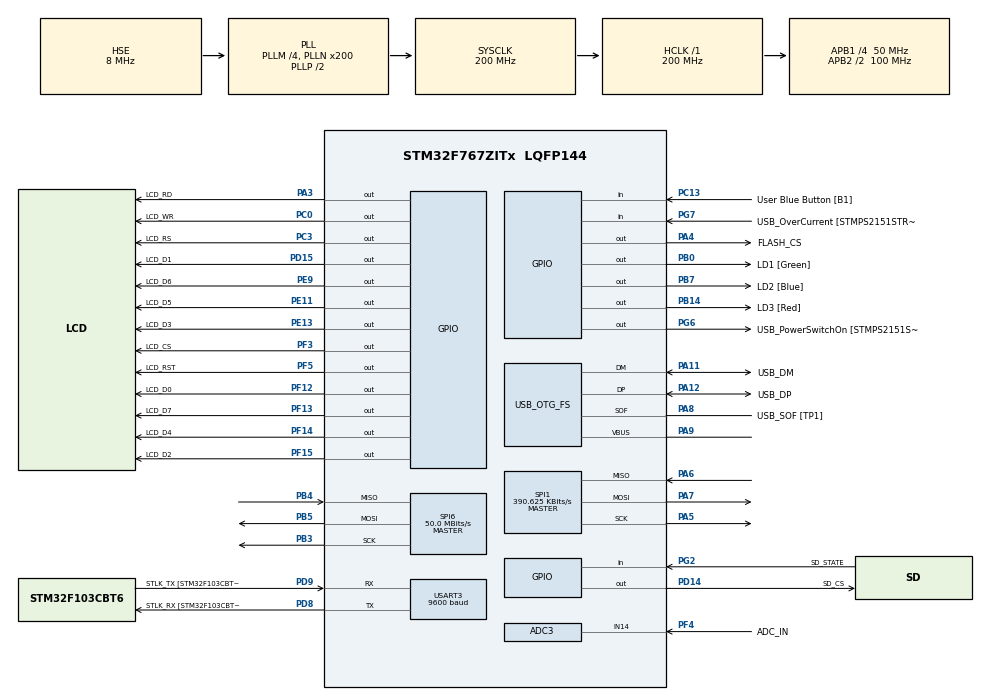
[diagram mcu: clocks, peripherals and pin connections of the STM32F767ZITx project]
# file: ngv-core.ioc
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ADC1.Channel-4\#ChannelRegularConversion=ADC_CHANNEL_TEMPSENSOR
ADC1.ClockPrescaler=ADC_CLOCK_SYNC_PCLK_DIV4
ADC1.ContinuousConvMode=ENABLE
ADC1.DMAContinuousRequests=ENABLE
ADC1.DataAlign=ADC_DATAALIGN_RIGHT
ADC1.DiscontinuousConvMode=DISABLE
ADC1.EOCSelection=ADC_EOC_SEQ_CONV
ADC1.EnableAnalogWatchDog=false
ADC1.ExternalTrigConv=ADC_SOFTWARE_START
ADC1.ExternalTrigConvEdge=ADC_EXTERNALTRIGCONVEDGE_NONE
ADC1.InjNumberOfConversion=0
ADC1.NbrOfConversion=1
ADC1.NbrOfConversionFlag=1
ADC1.Rank-4\#ChannelRegularConversion=1
ADC1.Resolution=ADC_RESOLUTION_12B
ADC1.SamplingTime-4\#ChannelRegularConversion=ADC_SAMPLETIME_3CYCLES
ADC1.ScanConvMode=DISABLE
ADC1.master=1
ADC3.Channel-0\#ChannelRegularConversion=ADC_CHANNEL_14
ADC3.ClockPrescaler=ADC_CLOCK_SYNC_PCLK_DIV4
ADC3.ContinuousConvMode=DISABLE
ADC3.DMAContinuousRequests=DISABLE
ADC3.DataAlign=ADC_DATAALIGN_RIGHT
ADC3.DiscontinuousConvMode=DISABLE
ADC3.EOCSelection=ADC_EOC_SINGLE_CONV
ADC3.EnableAnalogWatchDog=false
ADC3.ExternalTrigConv=ADC_SOFTWARE_START
ADC3.ExternalTrigConvEdge=ADC_EXTERNALTRIGCONVEDGE_NONE
ADC3.InjNumberOfConversion=0
ADC3.NbrOfConversion=1
ADC3.NbrOfConversionFlag=1
ADC3.Rank-0\#ChannelRegularConversion=1
ADC3.Resolution=ADC_RESOLUTION_12B
ADC3.SamplingTime-0\#ChannelRegularConversion=ADC_SAMPLETIME_3CYCLES
ADC3.ScanConvMode=DISABLE
CORTEX_M7.ART_ACCLERATOR_ENABLE=1
CORTEX_M7.CPU_DCache=Enabled
CORTEX_M7.CPU_ICache=Enabled
CORTEX_M7.FlashInterface=TCM_Enabled
CORTEX_M7.PREFETCH_ENABLE=1
Dma.ADC1.0.Direction=DMA_PERIPH_TO_MEMORY
Dma.ADC1.0.FIFOMode=DMA_FIFOMODE_DISABLE
Dma.ADC1.0.Instance=DMA2_Stream0
Dma.ADC1.0.MemDataAlignment=DMA_MDATAALIGN_HALFWORD
Dma.ADC1.0.MemInc=DMA_MINC_ENABLE
Dma.ADC1.0.Mode=DMA_CIRCULAR
Dma.ADC1.0.PeriphDataAlignment=DMA_PDATAALIGN_HALFWORD
Dma.ADC1.0.PeriphInc=DMA_PINC_DISABLE
Dma.ADC1.0.Priority=DMA_PRIORITY_MEDIUM
Dma.Request0=ADC1
Mcu.Family=STM32F7
Mcu.Name=STM32F767ZITx
Mcu.Package=LQFP144
NVIC.DMA2_Stream0_IRQn=true\:0\:0\:false\:false\:true\:false
NVIC.OTG_FS_IRQn=true\:0\:0\:false\:false\:true\:true
NVIC.PriorityGroup=NVIC_PRIORITYGROUP_4
PA1.GPIO_Label=RMII_REF_CLK [LAN8742A-CZ-TR_REFCLK0]
PA1.Signal=ETH_REF_CLK
PA10.GPIO_Label=USB_ID
PA10.Signal=USB_OTG_FS_ID
PA11.GPIO_Label=USB_DM
PA11.Mode=Device_Only
PA11.Signal=USB_OTG_FS_DM
PA12.GPIO_Label=USB_DP
PA12.Mode=Device_Only
PA12.Signal=USB_OTG_FS_DP
PA13.GPIO_Label=TMS
PA13.Mode=Serial_Wire
PA13.Signal=SYS_JTMS-SWDIO
PA14.GPIO_Label=TCK
PA14.Mode=Serial_Wire
PA14.Signal=SYS_JTCK-SWCLK
PA2.GPIO_Label=RMII_MDIO [LAN8742A-CZ-TR_MDIO]
PA2.Signal=ETH_MDIO
PA3.GPIO_Label=LCD_RD
PA3.GPIO_Speed=GPIO_SPEED_FREQ_VERY_HIGH
PA3.PinState=GPIO_PIN_SET
PA3.Signal=GPIO_Output
PA4.GPIO_Label=FLASH_CS
PA4.GPIO_Speed=GPIO_SPEED_FREQ_VERY_HIGH
PA4.PinState=GPIO_PIN_SET
PA4.Signal=GPIO_Output
PA5.Mode=Full_Duplex_Master
PA5.Signal=SPI1_SCK
PA6.Mode=Full_Duplex_Master
PA6.Signal=SPI1_MISO
PA7.Mode=Full_Duplex_Master
PA7.Signal=SPI1_MOSI
PA8.GPIO_Label=USB_SOF [TP1]
PA8.Mode=Activate_SOF_FS
PA8.Signal=USB_OTG_FS_SOF
PA9.Mode=Activate_VBUS
PA9.Signal=USB_OTG_FS_VBUS
PB0.GPIO_Label=LD1 [Green]
PB0.Signal=GPIO_Output
PB13.GPIO_Label=RMII_TXD1 [LAN8742A-CZ-TR_TXD1]
PB13.Signal=ETH_TXD1
PB14.GPIO_Label=LD3 [Red]
PB14.Signal=GPIO_Output
PB3.Mode=Full_Duplex_Master
PB3.Signal=SPI6_SCK
PB4.Mode=Full_Duplex_Master
PB4.Signal=SPI6_MISO
PB5.Mode=Full_Duplex_Master
PB5.Signal=SPI6_MOSI
PB7.GPIO_Label=LD2 [Blue]
PB7.Signal=GPIO_Output
PC0.GPIO_Label=LCD_WR
PC0.GPIO_Speed=GPIO_SPEED_FREQ_VERY_HIGH
PC0.PinState=GPIO_PIN_SET
PC0.Signal=GPIO_Output
PC1.GPIO_Label=RMII_MDC [LAN8742A-CZ-TR_MDC]
PC1.Signal=ETH_MDC
PC13.GPIO_Label=User Blue Button [B1]
PC13.GPIO_PuPd=GPIO_PULLDOWN
PC13.Signal=GPIO_Input
PC14/OSC32_IN.Mode=LSE-External-Oscillator
PC14/OSC32_IN.Signal=RCC_OSC32_IN
PC15/OSC32_OUT.Mode=LSE-External-Oscillator
PC15/OSC32_OUT.Signal=RCC_OSC32_OUT
PC3.GPIO_Label=LCD_RS
PC3.GPIO_Speed=GPIO_SPEED_FREQ_VERY_HIGH
PC3.PinState=GPIO_PIN_SET
PC3.Signal=GPIO_Output
PC4.GPIO_Label=RMII_RXD0 [LAN8742A-CZ-TR_RXD0]
PC4.Signal=ETH_RXD0
PC5.GPIO_Label=RMII_RXD1 [LAN8742A-CZ-TR_RXD1]
PC5.Signal=ETH_RXD1
PD14.GPIO_Label=SD_CS
PD14.GPIO_Speed=GPIO_SPEED_FREQ_VERY_HIGH
PD14.PinState=GPIO_PIN_SET
PD14.Signal=GPIO_Output
PD15.GPIO_Label=LCD_D1
PD15.GPIO_ModeDefaultOutputPP=GPIO_MODE_OUTPUT_PP
PD15.GPIO_PuPd=GPIO_NOPULL
PD15.GPIO_Speed=GPIO_SPEED_FREQ_VERY_HIGH
PD15.PinState=GPIO_PIN_RESET
PD15.Signal=GPIO_Output
PD8.GPIO_Label=STLK_RX [STM32F103CBT6_PA3]
PD8.Mode=Asynchronous
PD8.Signal=USART3_TX
PD9.GPIO_Label=STLK_TX [STM32F103CBT6_PA2]
PD9.Mode=Asynchronous
PD9.Signal=USART3_RX
PE11.GPIO_Label=LCD_D5
PE11.GPIO_ModeDefaultOutputPP=GPIO_MODE_OUTPUT_PP
PE11.GPIO_PuPd=GPIO_NOPULL
PE11.GPIO_Speed=GPIO_SPEED_FREQ_VERY_HIGH
PE11.PinState=GPIO_PIN_RESET
PE11.Signal=GPIO_Output
PE13.GPIO_Label=LCD_D3
PE13.GPIO_ModeDefaultOutputPP=GPIO_MODE_OUTPUT_PP
PE13.GPIO_PuPd=GPIO_NOPULL
PE13.GPIO_Speed=GPIO_SPEED_FREQ_VERY_HIGH
PE13.PinState=GPIO_PIN_RESET
PE13.Signal=GPIO_Output
PE9.GPIO_Label=LCD_D6
PE9.GPIO_ModeDefaultOutputPP=GPIO_MODE_OUTPUT_PP
PE9.GPIO_PuPd=GPIO_NOPULL
PE9.GPIO_Speed=GPIO_SPEED_FREQ_VERY_HIGH
PE9.PinState=GPIO_PIN_RESET
PE9.Signal=GPIO_Output
PF12.GPIO_Label=LCD_D0
PF12.GPIO_ModeDefaultOutputPP=GPIO_MODE_OUTPUT_PP
PF12.GPIO_PuPd=GPIO_NOPULL
PF12.GPIO_Speed=GPIO_SPEED_FREQ_VERY_HIGH
PF12.PinState=GPIO_PIN_RESET
PF12.Signal=GPIO_Output
PF13.GPIO_Label=LCD_D7
PF13.GPIO_ModeDefaultOutputPP=GPIO_MODE_OUTPUT_PP
PF13.GPIO_PuPd=GPIO_NOPULL
PF13.GPIO_Speed=GPIO_SPEED_FREQ_VERY_HIGH
PF13.PinState=GPIO_PIN_RESET
PF13.Signal=GPIO_Output
PF14.GPIO_Label=LCD_D4
PF14.GPIO_ModeDefaultOutputPP=GPIO_MODE_OUTPUT_PP
PF14.GPIO_PuPd=GPIO_NOPULL
PF14.GPIO_Speed=GPIO_SPEED_FREQ_VERY_HIGH
PF14.PinState=GPIO_PIN_RESET
PF14.Signal=GPIO_Output
PF15.GPIO_Label=LCD_D2
PF15.GPIO_ModeDefaultOutputPP=GPIO_MODE_OUTPUT_PP
PF15.GPIO_PuPd=GPIO_NOPULL
PF15.GPIO_Speed=GPIO_SPEED_FREQ_VERY_HIGH
PF15.PinState=GPIO_PIN_RESET
PF15.Signal=GPIO_Output
PF3.GPIO_Label=LCD_CS
PF3.GPIO_Speed=GPIO_SPEED_FREQ_VERY_HIGH
PF3.PinState=GPIO_PIN_SET
PF3.Signal=GPIO_Output
PF4.GPIO_Label=ADC_IN
PF4.Mode=IN14
PF4.Signal=ADC3_IN14
PF5.GPIO_Label=LCD_RST
PF5.GPIO_Speed=GPIO_SPEED_FREQ_VERY_HIGH
PF5.PinState=GPIO_PIN_SET
PF5.Signal=GPIO_Output
PG11.GPIO_Label=RMII_TX_EN [LAN8742A-CZ-TR_TXEN]
PG11.Signal=ETH_TX_EN
PG13.GPIO_Label=RMII_TXD0 [LAN8742A-CZ-TR_TXD0]
PG13.Signal=ETH_TXD0
PG2.GPIO_Label=SD_STATE
PG2.GPIO_PuPd=GPIO_PULLUP
PG2.Signal=GPIO_Input
PG6.GPIO_Label=USB_PowerSwitchOn [STMPS2151STR_EN]
PG6.Signal=GPIO_Output
PG7.GPIO_Label=USB_OverCurrent [STMPS2151STR_FAULT]
PG7.Signal=GPIO_Input
PH0/OSC_IN.GPIO_Label=MCO [STM32F103CBT6_PA8]
PH0/OSC_IN.Mode=HSE-External-Oscillator
PH0/OSC_IN.Signal=RCC_OSC_IN
PH1/OSC_OUT.Mode=HSE-External-Oscillator
PH1/OSC_OUT.Signal=RCC_OSC_OUT
ProjectManager.HeapSize=0x800
ProjectManager.StackSize=0x800
ProjectManager.TargetToolchain=SW4STM32
RCC.48MHZClocksFreq_Value=24000000
RCC.AHBFreq_Value=200000000
RCC.APB1CLKDivider=RCC_HCLK_DIV4
RCC.APB1Freq_Value=50000000
RCC.APB1TimFreq_Value=100000000
RCC.APB2CLKDivider=RCC_HCLK_DIV2
RCC.APB2Freq_Value=100000000
RCC.APB2TimFreq_Value=200000000
RCC.CortexFreq_Value=200000000
RCC.EnbaleCSS=true
RCC.HCLKFreq_Value=200000000
RCC.HSE_VALUE=8000000
RCC.HSI_VALUE=16000000
RCC.PLL48CLockSelection=RCC_CLK48SOURCE_PLLSAIP
RCC.PLLM=4
RCC.PLLMUL=RCC_PLL_MUL9
RCC.PLLN=200
RCC.PLLSAIN=96
RCC.PLLSAIP=RCC_PLLSAIP_DIV4
RCC.PRESCALERUSB=RCC_USBCLKSOURCE_PLL_DIV1_5
RCC.SDMMCClockSelection=RCC_SDMMC1CLKSOURCE_CLK48
RCC.SYSCLKFreq_VALUE=200000000
RCC.SYSCLKSource=RCC_SYSCLKSOURCE_PLLCLK
RCC.SYSCLKSourceVirtual=RCC_SYSCLKSOURCE_PLLCLK
RCC.USBFreq_Value=48000000
RCC.VCOOutputFreq_Value=400000000
RCC.VDD_VALUE=3.3
SPI1.BaudRatePrescaler=SPI_BAUDRATEPRESCALER_256
SPI1.CLKPhase=SPI_PHASE_2EDGE
SPI1.CLKPolarity=SPI_POLARITY_HIGH
SPI1.CalculateBaudRate=390.625 KBits/s
SPI1.DataSize=SPI_DATASIZE_8BIT
SPI1.Direction=SPI_DIRECTION_2LINES
SPI1.Mode=SPI_MODE_MASTER
SPI1.VirtualType=VM_MASTER
SPI6.CLKPhase=SPI_PHASE_2EDGE
SPI6.CLKPolarity=SPI_POLARITY_HIGH
SPI6.CalculateBaudRate=50.0 MBits/s
SPI6.DataSize=SPI_DATASIZE_8BIT
SPI6.Direction=SPI_DIRECTION_2LINES
SPI6.Mode=SPI_MODE_MASTER
SPI6.VirtualType=VM_MASTER
USART3.BaudRate=9600
USART3.VirtualMode-Asynchronous=VM_ASYNC
USART3.WordLength=WORDLENGTH_8B
USB_DEVICE.CLASS_NAME-MSC_FS=MSC
USB_DEVICE.CLASS_NAME_FS=MSC
USB_DEVICE.CONFIGURATION_STRING_MSC_FS=NGV Config
USB_DEVICE.INTERFACE_STRING_MSC_FS=NGV Interface
USB_DEVICE.MANUFACTURER_STRING-MSC_FS=NSDN
USB_DEVICE.PID_MSC_FS=975
USB_DEVICE.PRODUCT_STRING_MSC_FS=NyaGame Vita
USB_DEVICE.SERIALNUMBER_STRING_MSC_FS=000000000001
USB_DEVICE.USBD_HandleTypeDef-MSC_FS=hUsbDeviceFS
USB_DEVICE.VID-MSC_FS=9629
USB_DEVICE.VirtualMode-MSC_FS=Msc
USB_DEVICE.VirtualModeFS=Msc_FS
USB_OTG_FS.VirtualMode=Device_Only
USB_OTG_FS.lpm_enable=ENABLE
VP_ADC1_TempSens_Input.Mode=IN-TempSens
VP_FATFS_VS_Generic.Mode=User_defined
VP_USB_DEVICE_VS_USB_DEVICE_MSC_FS.Mode=MSC_FS
board=ngv-core

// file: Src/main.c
/**
  ******************************************************************************
  * @file           : main.c
  * @brief          : Main program body
  ******************************************************************************
  * This notice applies to any and all portions of this file
  * that are not between comment pairs USER CODE BEGIN and
  * USER CODE END. Other portions of this file, whether
  * inserted by the user or by software development tools
  * are owned by their respective copyright owners.
  *
  * Copyright (c) 2018 STMicroelectronics International N.V.
  * All rights reserved.
  *
  * Redistribution and use in source and binary forms, with or without
  * modification, are permitted, provided that the following conditions are met:
  *
  * 1. Redistribution of source code must retain the above copyright notice,
  *    this list of conditions and the following disclaimer.
  * 2. Redistributions in binary form must reproduce the above copyright notice,
  *    this list of conditions and the following disclaimer in the documentation
  *    and/or other materials provided with the distribution.
  * 3. Neither the name of STMicroelectronics nor the names of other
  *    contributors to this software may be used to endorse or promote products
  *    derived from this software without specific written permission.
  * 4. This software, including modifications and/or derivative works of this
  *    software, must execute solely and exclusively on microcontroller or
  *    microprocessor devices manufactured by or for STMicroelectronics.
  * 5. Redistribution and use of this software other than as permitted under
  *    this license is void and will automatically terminate your rights under
  *    this license.
  *
  * THIS SOFTWARE IS PROVIDED BY STMICROELECTRONICS AND CONTRIBUTORS "AS IS"
  * AND ANY EXPRESS, IMPLIED OR STATUTORY WARRANTIES, INCLUDING, BUT NOT
  * LIMITED TO, THE IMPLIED WARRANTIES OF MERCHANTABILITY, FITNESS FOR A
  * PARTICULAR PURPOSE AND NON-INFRINGEMENT OF THIRD PARTY INTELLECTUAL PROPERTY
  * RIGHTS ARE DISCLAIMED TO THE FULLEST EXTENT PERMITTED BY LAW. IN NO EVENT
  * SHALL STMICROELECTRONICS OR CONTRIBUTORS BE LIABLE FOR ANY DIRECT, INDIRECT,
  * INCIDENTAL, SPECIAL, EXEMPLARY, OR CONSEQUENTIAL DAMAGES (INCLUDING, BUT NOT
  * LIMITED TO, PROCUREMENT OF SUBSTITUTE GOODS OR SERVICES; LOSS OF USE, DATA,
  * OR PROFITS; OR BUSINESS INTERRUPTION) HOWEVER CAUSED AND ON ANY THEORY OF
  * LIABILITY, WHETHER IN CONTRACT, STRICT LIABILITY, OR TORT (INCLUDING
  * NEGLIGENCE OR OTHERWISE) ARISING IN ANY WAY OUT OF THE USE OF THIS SOFTWARE,
  * EVEN IF ADVISED OF THE POSSIBILITY OF SUCH DAMAGE.
  *
  ******************************************************************************
  */
#include "main.h"
#include "stm32f7xx_hal.h"
#include "fatfs.h"
#include "usb_device.h"

/* USER CODE BEGIN Includes */
#define NGV_CORE_VERSION "180201"

#include "ngv_bios.h"

#include "usbd_core.h"
#include <setjmp.h>

#include "sd.h"
#include "lcd.h"
#include "logo.h"
#include "flash.h"
#include "nshel.h"
/* USER CODE END Includes */

ADC_HandleTypeDef hadc1;
ADC_HandleTypeDef hadc3;
DMA_HandleTypeDef hdma_adc1;

SPI_HandleTypeDef hspi1;
SPI_HandleTypeDef hspi6;

UART_HandleTypeDef huart3;

/* USER CODE BEGIN PV */
/* Private variables ---------------------------------------------------------*/
SD* sd;
LCD* lcd;
pIO rd = { LCD_RD_GPIO_Port, LCD_RD_Pin },
	wr = { LCD_WR_GPIO_Port, LCD_WR_Pin },
	rs = { LCD_RS_GPIO_Port, LCD_RS_Pin },
	cs = { LCD_CS_GPIO_Port, LCD_CS_Pin },
	rst = { LCD_RST_GPIO_Port, LCD_RST_Pin };
pIO data[8] = {
	{ LCD_D0_GPIO_Port, LCD_D0_Pin }, { LCD_D1_GPIO_Port, LCD_D1_Pin },
	{ LCD_D2_GPIO_Port, LCD_D2_Pin }, { LCD_D3_GPIO_Port, LCD_D3_Pin },
	{ LCD_D4_GPIO_Port, LCD_D4_Pin }, { LCD_D5_GPIO_Port, LCD_D5_Pin },
	{ LCD_D6_GPIO_Port, LCD_D6_Pin }, { LCD_D7_GPIO_Port, LCD_D7_Pin }
};
jmp_buf rstPos;
FATFS fileSystem;
uint8_t FS_OK = 0;
/* USER CODE END PV */

void SystemClock_Config(void);
static void MX_GPIO_Init(void);
static void MX_DMA_Init(void);
static void MX_ADC3_Init(void);
static void MX_SPI1_Init(void);
static void MX_SPI6_Init(void);
static void MX_USART3_UART_Init(void);
static void MX_ADC1_Init(void);

/* USER CODE BEGIN PFP */
/* Private function prototypes -----------------------------------------------*/

/* USER CODE END PFP */

/* USER CODE BEGIN 0 */
unsigned char sdInit() {
	return sd->init(sd->p);
}
unsigned int sdSize() {
	return sd->size(sd->p);
}
void sdRead(unsigned int sector, unsigned char* buf) {
	sd->read(sd->p, sector, buf);
}
void sdWrite(unsigned int sector, unsigned char* buf) {
	sd->write(sd->p, sector, buf);
}
void sdReads(unsigned int sector, unsigned char* buf, unsigned char count) {
	sd->reads(sd->p, sector, buf, count);
}
void sdWrites(unsigned int sector, unsigned char* buf, unsigned char count) {
	sd->writes(sd->p, sector, buf, count);
}
void spi1Init(char isHighSpeed) {
	hspi1.Instance = SPI1;
	hspi1.Init.Mode = SPI_MODE_MASTER;
	hspi1.Init.Direction = SPI_DIRECTION_2LINES;
	hspi1.Init.DataSize = SPI_DATASIZE_8BIT;
	hspi1.Init.CLKPolarity = SPI_POLARITY_LOW;
	hspi1.Init.CLKPhase = SPI_PHASE_1EDGE;
	hspi1.Init.NSS = SPI_NSS_SOFT;
	if (isHighSpeed == 0)
		hspi1.Init.BaudRatePrescaler = SPI_BAUDRATEPRESCALER_256;
	else
		hspi1.Init.BaudRatePrescaler = SPI_BAUDRATEPRESCALER_2;
	hspi1.Init.FirstBit = SPI_FIRSTBIT_MSB;
	hspi1.Init.TIMode = SPI_TIMODE_DISABLE;
	hspi1.Init.CRCCalculation = SPI_CRCCALCULATION_DISABLE;
	hspi1.Init.CRCPolynomial = 7;
	hspi1.Init.CRCLength = SPI_CRC_LENGTH_DATASIZE;
	hspi1.Init.NSSPMode = SPI_NSS_PULSE_DISABLE;
	HAL_SPI_Init(&hspi1);
}

void _lcd_ctl_blk(unsigned char state) {

}
void _lcd_ctl_cs(unsigned char state) {
	HAL_GPIO_WritePin(LCD_CS_GPIO_Port, LCD_CS_Pin, state);
}
void _lcd_ctl_rs(unsigned char state) {
	HAL_GPIO_WritePin(LCD_RS_GPIO_Port, LCD_RS_Pin, state);
}
void _lcd_ctl_rst(unsigned char state) {
	HAL_GPIO_WritePin(LCD_RST_GPIO_Port, LCD_RST_Pin, state);
}
/* USER CODE END 0 */

int main(void)
{
  /* USER CODE BEGIN 1 */
  sd = SDInit(&hspi1, SD_CS_GPIO_Port, SD_CS_Pin);
  lcd = LCDInit(&rd, &wr, &rs, &cs, &rst, data);
  /* USER CODE END 1 */

  /* Enable I-Cache-------------------------------------------------------------*/
  SCB_EnableICache();

  /* Enable D-Cache-------------------------------------------------------------*/
  SCB_EnableDCache();

  /* MCU Configuration----------------------------------------------------------*/

  /* Reset of all peripherals, Initializes the Flash interface and the Systick. */
  HAL_Init();

  /* Configure the system clock */
  SystemClock_Config();

  /* Initialize all configured peripherals */
  MX_GPIO_Init();
  MX_DMA_Init();
  MX_USB_DEVICE_Init();
  MX_FATFS_Init();
  MX_ADC3_Init();
  MX_SPI1_Init();
  MX_SPI6_Init();
  MX_USART3_UART_Init();
  MX_ADC1_Init();
  /* USER CODE BEGIN 2 */
  ngv_setup();
  /* USER CODE END 2 */

  /* Infinite loop */
  /* USER CODE BEGIN WHILE */
  while (1) ngv_loop();
  /* USER CODE END WHILE */

}

void SystemClock_Config(void)
{

  RCC_OscInitTypeDef RCC_OscInitStruct;
  RCC_ClkInitTypeDef RCC_ClkInitStruct;
  RCC_PeriphCLKInitTypeDef PeriphClkInitStruct;

    /**Configure the main internal regulator output voltage
    */
  __HAL_RCC_PWR_CLK_ENABLE();

  __HAL_PWR_VOLTAGESCALING_CONFIG(PWR_REGULATOR_VOLTAGE_SCALE1);

    /**Initializes the CPU, AHB and APB busses clocks
    */
  RCC_OscInitStruct.OscillatorType = RCC_OSCILLATORTYPE_HSE;
  RCC_OscInitStruct.HSEState = RCC_HSE_ON;
  RCC_OscInitStruct.PLL.PLLState = RCC_PLL_ON;
  RCC_OscInitStruct.PLL.PLLSource = RCC_PLLSOURCE_HSE;
  RCC_OscInitStruct.PLL.PLLM = 4;
  RCC_OscInitStruct.PLL.PLLN = 200;
  RCC_OscInitStruct.PLL.PLLP = RCC_PLLP_DIV2;
  RCC_OscInitStruct.PLL.PLLQ = 2;
  if (HAL_RCC_OscConfig(&RCC_OscInitStruct) != HAL_OK)
  {
    _Error_Handler(__FILE__, __LINE__);
  }

    /**Activate the Over-Drive mode
    */
  if (HAL_PWREx_EnableOverDrive() != HAL_OK)
  {
    _Error_Handler(__FILE__, __LINE__);
  }

    /**Initializes the CPU, AHB and APB busses clocks
    */
  RCC_ClkInitStruct.ClockType = RCC_CLOCKTYPE_HCLK|RCC_CLOCKTYPE_SYSCLK
                              |RCC_CLOCKTYPE_PCLK1|RCC_CLOCKTYPE_PCLK2;
  RCC_ClkInitStruct.SYSCLKSource = RCC_SYSCLKSOURCE_PLLCLK;
  RCC_ClkInitStruct.AHBCLKDivider = RCC_SYSCLK_DIV1;
  RCC_ClkInitStruct.APB1CLKDivider = RCC_HCLK_DIV4;
  RCC_ClkInitStruct.APB2CLKDivider = RCC_HCLK_DIV2;

  if (HAL_RCC_ClockConfig(&RCC_ClkInitStruct, FLASH_LATENCY_6) != HAL_OK)
  {
    _Error_Handler(__FILE__, __LINE__);
  }

  PeriphClkInitStruct.PeriphClockSelection = RCC_PERIPHCLK_USART3|RCC_PERIPHCLK_CLK48;
  PeriphClkInitStruct.PLLSAI.PLLSAIN = 96;
  PeriphClkInitStruct.PLLSAI.PLLSAIR = 2;
  PeriphClkInitStruct.PLLSAI.PLLSAIQ = 2;
  PeriphClkInitStruct.PLLSAI.PLLSAIP = RCC_PLLSAIP_DIV4;
  PeriphClkInitStruct.PLLSAIDivQ = 1;
  PeriphClkInitStruct.PLLSAIDivR = RCC_PLLSAIDIVR_2;
  PeriphClkInitStruct.Usart3ClockSelection = RCC_USART3CLKSOURCE_PCLK1;
  PeriphClkInitStruct.Clk48ClockSelection = RCC_CLK48SOURCE_PLLSAIP;
  if (HAL_RCCEx_PeriphCLKConfig(&PeriphClkInitStruct) != HAL_OK)
  {
    _Error_Handler(__FILE__, __LINE__);
  }

    /**Enables the Clock Security System
    */
  HAL_RCC_EnableCSS();

    /**Configure the Systick interrupt time
    */
  HAL_SYSTICK_Config(HAL_RCC_GetHCLKFreq()/1000);

    /**Configure the Systick
    */
  HAL_SYSTICK_CLKSourceConfig(SYSTICK_CLKSOURCE_HCLK);

  /* SysTick_IRQn interrupt configuration */
  HAL_NVIC_SetPriority(SysTick_IRQn, 0, 0);
}

/* ADC1 init function */
static void MX_ADC1_Init(void)
{

  ADC_ChannelConfTypeDef sConfig;

    /**Configure the global features of the ADC (Clock, Resolution, Data Alignment and number of conversion)
    */
  hadc1.Instance = ADC1;
  hadc1.Init.ClockPrescaler = ADC_CLOCK_SYNC_PCLK_DIV4;
  hadc1.Init.Resolution = ADC_RESOLUTION_12B;
  hadc1.Init.ScanConvMode = DISABLE;
  hadc1.Init.ContinuousConvMode = ENABLE;
  hadc1.Init.DiscontinuousConvMode = DISABLE;
  hadc1.Init.ExternalTrigConvEdge = ADC_EXTERNALTRIGCONVEDGE_NONE;
  hadc1.Init.ExternalTrigConv = ADC_SOFTWARE_START;
  hadc1.Init.DataAlign = ADC_DATAALIGN_RIGHT;
  hadc1.Init.NbrOfConversion = 1;
  hadc1.Init.DMAContinuousRequests = ENABLE;
  hadc1.Init.EOCSelection = ADC_EOC_SEQ_CONV;
  if (HAL_ADC_Init(&hadc1) != HAL_OK)
  {
    _Error_Handler(__FILE__, __LINE__);
  }

    /**Configure for the selected ADC regular channel its corresponding rank in the sequencer and its sample time.
    */
  sConfig.Channel = ADC_CHANNEL_TEMPSENSOR;
  sConfig.Rank = ADC_REGULAR_RANK_1;
  sConfig.SamplingTime = ADC_SAMPLETIME_3CYCLES;
  if (HAL_ADC_ConfigChannel(&hadc1, &sConfig) != HAL_OK)
  {
    _Error_Handler(__FILE__, __LINE__);
  }

}

/* ADC3 init function */
static void MX_ADC3_Init(void)
{

  ADC_ChannelConfTypeDef sConfig;

    /**Configure the global features of the ADC (Clock, Resolution, Data Alignment and number of conversion)
    */
  hadc3.Instance = ADC3;
  hadc3.Init.ClockPrescaler = ADC_CLOCK_SYNC_PCLK_DIV4;
  hadc3.Init.Resolution = ADC_RESOLUTION_12B;
  hadc3.Init.ScanConvMode = DISABLE;
  hadc3.Init.ContinuousConvMode = DISABLE;
  hadc3.Init.DiscontinuousConvMode = DISABLE;
  hadc3.Init.ExternalTrigConvEdge = ADC_EXTERNALTRIGCONVEDGE_NONE;
  hadc3.Init.ExternalTrigConv = ADC_SOFTWARE_START;
  hadc3.Init.DataAlign = ADC_DATAALIGN_RIGHT;
  hadc3.Init.NbrOfConversion = 1;
  hadc3.Init.DMAContinuousRequests = DISABLE;
  hadc3.Init.EOCSelection = ADC_EOC_SINGLE_CONV;
  if (HAL_ADC_Init(&hadc3) != HAL_OK)
  {
    _Error_Handler(__FILE__, __LINE__);
  }

    /**Configure for the selected ADC regular channel its corresponding rank in the sequencer and its sample time.
    */
  sConfig.Channel = ADC_CHANNEL_14;
  sConfig.Rank = ADC_REGULAR_RANK_1;
  sConfig.SamplingTime = ADC_SAMPLETIME_3CYCLES;
  if (HAL_ADC_ConfigChannel(&hadc3, &sConfig) != HAL_OK)
  {
    _Error_Handler(__FILE__, __LINE__);
  }

}

/* SPI1 init function */
static void MX_SPI1_Init(void)
{

  /* SPI1 parameter configuration*/
  hspi1.Instance = SPI1;
  hspi1.Init.Mode = SPI_MODE_MASTER;
  hspi1.Init.Direction = SPI_DIRECTION_2LINES;
  hspi1.Init.DataSize = SPI_DATASIZE_8BIT;
  hspi1.Init.CLKPolarity = SPI_POLARITY_HIGH;
  hspi1.Init.CLKPhase = SPI_PHASE_2EDGE;
  hspi1.Init.NSS = SPI_NSS_SOFT;
  hspi1.Init.BaudRatePrescaler = SPI_BAUDRATEPRESCALER_256;
  hspi1.Init.FirstBit = SPI_FIRSTBIT_MSB;
  hspi1.Init.TIMode = SPI_TIMODE_DISABLE;
  hspi1.Init.CRCCalculation = SPI_CRCCALCULATION_DISABLE;
  hspi1.Init.CRCPolynomial = 7;
  hspi1.Init.CRCLength = SPI_CRC_LENGTH_DATASIZE;
  hspi1.Init.NSSPMode = SPI_NSS_PULSE_DISABLE;
  if (HAL_SPI_Init(&hspi1) != HAL_OK)
  {
    _Error_Handler(__FILE__, __LINE__);
  }

}

/* SPI6 init function */
static void MX_SPI6_Init(void)
{

  /* SPI6 parameter configuration*/
  hspi6.Instance = SPI6;
  hspi6.Init.Mode = SPI_MODE_MASTER;
  hspi6.Init.Direction = SPI_DIRECTION_2LINES;
  hspi6.Init.DataSize = SPI_DATASIZE_8BIT;
  hspi6.Init.CLKPolarity = SPI_POLARITY_HIGH;
  hspi6.Init.CLKPhase = SPI_PHASE_2EDGE;
  hspi6.Init.NSS = SPI_NSS_SOFT;
  hspi6.Init.BaudRatePrescaler = SPI_BAUDRATEPRESCALER_2;
  hspi6.Init.FirstBit = SPI_FIRSTBIT_MSB;
  hspi6.Init.TIMode = SPI_TIMODE_DISABLE;
  hspi6.Init.CRCCalculation = SPI_CRCCALCULATION_DISABLE;
  hspi6.Init.CRCPolynomial = 7;
  hspi6.Init.CRCLength = SPI_CRC_LENGTH_DATASIZE;
  hspi6.Init.NSSPMode = SPI_NSS_PULSE_DISABLE;
  if (HAL_SPI_Init(&hspi6) != HAL_OK)
  {
    _Error_Handler(__FILE__, __LINE__);
  }

}

/* USART3 init function */
static void MX_USART3_UART_Init(void)
{

  huart3.Instance = USART3;
  huart3.Init.BaudRate = 9600;
  huart3.Init.WordLength = UART_WORDLENGTH_8B;
  huart3.Init.StopBits = UART_STOPBITS_1;
  huart3.Init.Parity = UART_PARITY_NONE;
  huart3.Init.Mode = UART_MODE_TX_RX;
  huart3.Init.HwFlowCtl = UART_HWCONTROL_NONE;
  huart3.Init.OverSampling = UART_OVERSAMPLING_16;
  huart3.Init.OneBitSampling = UART_ONE_BIT_SAMPLE_DISABLE;
  huart3.AdvancedInit.AdvFeatureInit = UART_ADVFEATURE_NO_INIT;
  if (HAL_UART_Init(&huart3) != HAL_OK)
  {
    _Error_Handler(__FILE__, __LINE__);
  }

}

static void MX_DMA_Init(void)
{
  /* DMA controller clock enable */
  __HAL_RCC_DMA2_CLK_ENABLE();

  /* DMA interrupt init */
  /* DMA2_Stream0_IRQn interrupt configuration */
  HAL_NVIC_SetPriority(DMA2_Stream0_IRQn, 0, 0);
  HAL_NVIC_EnableIRQ(DMA2_Stream0_IRQn);

}

/** Configure pins as
        * Analog
        * Input
        * Output
        * EVENT_OUT
        * EXTI
     PC1   ------> ETH_MDC
     PA1   ------> ETH_REF_CLK
     PA2   ------> ETH_MDIO
     PC4   ------> ETH_RXD0
     PC5   ------> ETH_RXD1
     PB13   ------> ETH_TXD1
     PG11   ------> ETH_TX_EN
     PG13   ------> ETH_TXD0
*/
static void MX_GPIO_Init(void)
{

  GPIO_InitTypeDef GPIO_InitStruct;

  /* GPIO Ports Clock Enable */
  __HAL_RCC_GPIOC_CLK_ENABLE();
  __HAL_RCC_GPIOF_CLK_ENABLE();
  __HAL_RCC_GPIOH_CLK_ENABLE();
  __HAL_RCC_GPIOA_CLK_ENABLE();
  __HAL_RCC_GPIOB_CLK_ENABLE();
  __HAL_RCC_GPIOE_CLK_ENABLE();
  __HAL_RCC_GPIOD_CLK_ENABLE();
  __HAL_RCC_GPIOG_CLK_ENABLE();

  /*Configure GPIO pin Output Level */
  HAL_GPIO_WritePin(GPIOF, LCD_CS_Pin|LCD_RST_Pin, GPIO_PIN_SET);

  /*Configure GPIO pin Output Level */
  HAL_GPIO_WritePin(GPIOC, LCD_WR_Pin|LCD_RS_Pin, GPIO_PIN_SET);

  /*Configure GPIO pin Output Level */
  HAL_GPIO_WritePin(GPIOA, LCD_RD_Pin|FLASH_CS_Pin, GPIO_PIN_SET);

  /*Configure GPIO pin Output Level */
  HAL_GPIO_WritePin(GPIOB, LD1_Pin|LD3_Pin|LD2_Pin, GPIO_PIN_RESET);

  /*Configure GPIO pin Output Level */
  HAL_GPIO_WritePin(GPIOF, LCD_D0_Pin|LCD_D7_Pin|LCD_D4_Pin|LCD_D2_Pin, GPIO_PIN_RESET);

  /*Configure GPIO pin Output Level */
  HAL_GPIO_WritePin(GPIOE, LCD_D6_Pin|LCD_D5_Pin|LCD_D3_Pin, GPIO_PIN_RESET);

  /*Configure GPIO pin Output Level */
  HAL_GPIO_WritePin(SD_CS_GPIO_Port, SD_CS_Pin, GPIO_PIN_SET);

  /*Configure GPIO pin Output Level */
  HAL_GPIO_WritePin(LCD_D1_GPIO_Port, LCD_D1_Pin, GPIO_PIN_RESET);

  /*Configure GPIO pin Output Level */
  HAL_GPIO_WritePin(USB_PowerSwitchOn_GPIO_Port, USB_PowerSwitchOn_Pin, GPIO_PIN_RESET);

  /*Configure GPIO pin : User_Blue_Button_Pin */
  GPIO_InitStruct.Pin = User_Blue_Button_Pin;
  GPIO_InitStruct.Mode = GPIO_MODE_INPUT;
  GPIO_InitStruct.Pull = GPIO_PULLDOWN;
  HAL_GPIO_Init(User_Blue_Button_GPIO_Port, &GPIO_InitStruct);

  /*Configure GPIO pins : LCD_CS_Pin LCD_RST_Pin LCD_D0_Pin LCD_D7_Pin
                           LCD_D4_Pin LCD_D2_Pin */
  GPIO_InitStruct.Pin = LCD_CS_Pin|LCD_RST_Pin|LCD_D0_Pin|LCD_D7_Pin
                          |LCD_D4_Pin|LCD_D2_Pin;
  GPIO_InitStruct.Mode = GPIO_MODE_OUTPUT_PP;
  GPIO_InitStruct.Pull = GPIO_NOPULL;
  GPIO_InitStruct.Speed = GPIO_SPEED_FREQ_VERY_HIGH;
  HAL_GPIO_Init(GPIOF, &GPIO_InitStruct);

  /*Configure GPIO pins : LCD_WR_Pin LCD_RS_Pin */
  GPIO_InitStruct.Pin = LCD_WR_Pin|LCD_RS_Pin;
  GPIO_InitStruct.Mode = GPIO_MODE_OUTPUT_PP;
  GPIO_InitStruct.Pull = GPIO_NOPULL;
  GPIO_InitStruct.Speed = GPIO_SPEED_FREQ_VERY_HIGH;
  HAL_GPIO_Init(GPIOC, &GPIO_InitStruct);

  /*Configure GPIO pins : RMII_MDC_Pin RMII_RXD0_Pin RMII_RXD1_Pin */
  GPIO_InitStruct.Pin = RMII_MDC_Pin|RMII_RXD0_Pin|RMII_RXD1_Pin;
  GPIO_InitStruct.Mode = GPIO_MODE_AF_PP;
  GPIO_InitStruct.Pull = GPIO_NOPULL;
  GPIO_InitStruct.Speed = GPIO_SPEED_FREQ_VERY_HIGH;
  GPIO_InitStruct.Alternate = GPIO_AF11_ETH;
  HAL_GPIO_Init(GPIOC, &GPIO_InitStruct);

  /*Configure GPIO pins : RMII_REF_CLK_Pin RMII_MDIO_Pin */
  GPIO_InitStruct.Pin = RMII_REF_CLK_Pin|RMII_MDIO_Pin;
  GPIO_InitStruct.Mode = GPIO_MODE_AF_PP;
  GPIO_InitStruct.Pull = GPIO_NOPULL;
  GPIO_InitStruct.Speed = GPIO_SPEED_FREQ_VERY_HIGH;
  GPIO_InitStruct.Alternate = GPIO_AF11_ETH;
  HAL_GPIO_Init(GPIOA, &GPIO_InitStruct);

  /*Configure GPIO pins : LCD_RD_Pin FLASH_CS_Pin */
  GPIO_InitStruct.Pin = LCD_RD_Pin|FLASH_CS_Pin;
  GPIO_InitStruct.Mode = GPIO_MODE_OUTPUT_PP;
  GPIO_InitStruct.Pull = GPIO_NOPULL;
  GPIO_InitStruct.Speed = GPIO_SPEED_FREQ_VERY_HIGH;
  HAL_GPIO_Init(GPIOA, &GPIO_InitStruct);

  /*Configure GPIO pins : LD1_Pin LD3_Pin LD2_Pin */
  GPIO_InitStruct.Pin = LD1_Pin|LD3_Pin|LD2_Pin;
  GPIO_InitStruct.Mode = GPIO_MODE_OUTPUT_PP;
  GPIO_InitStruct.Pull = GPIO_NOPULL;
  GPIO_InitStruct.Speed = GPIO_SPEED_FREQ_LOW;
  HAL_GPIO_Init(GPIOB, &GPIO_InitStruct);

  /*Configure GPIO pins : LCD_D6_Pin LCD_D5_Pin LCD_D3_Pin */
  GPIO_InitStruct.Pin = LCD_D6_Pin|LCD_D5_Pin|LCD_D3_Pin;
  GPIO_InitStruct.Mode = GPIO_MODE_OUTPUT_PP;
  GPIO_InitStruct.Pull = GPIO_NOPULL;
  GPIO_InitStruct.Speed = GPIO_SPEED_FREQ_VERY_HIGH;
  HAL_GPIO_Init(GPIOE, &GPIO_InitStruct);

  /*Configure GPIO pin : RMII_TXD1_Pin */
  GPIO_InitStruct.Pin = RMII_TXD1_Pin;
  GPIO_InitStruct.Mode = GPIO_MODE_AF_PP;
  GPIO_InitStruct.Pull = GPIO_NOPULL;
  GPIO_InitStruct.Speed = GPIO_SPEED_FREQ_VERY_HIGH;
  GPIO_InitStruct.Alternate = GPIO_AF11_ETH;
  HAL_GPIO_Init(RMII_TXD1_GPIO_Port, &GPIO_InitStruct);

  /*Configure GPIO pins : SD_CS_Pin LCD_D1_Pin */
  GPIO_InitStruct.Pin = SD_CS_Pin|LCD_D1_Pin;
  GPIO_InitStruct.Mode = GPIO_MODE_OUTPUT_PP;
  GPIO_InitStruct.Pull = GPIO_NOPULL;
  GPIO_InitStruct.Speed = GPIO_SPEED_FREQ_VERY_HIGH;
  HAL_GPIO_Init(GPIOD, &GPIO_InitStruct);

  /*Configure GPIO pin : SD_STATE_Pin */
  GPIO_InitStruct.Pin = SD_STATE_Pin;
  GPIO_InitStruct.Mode = GPIO_MODE_INPUT;
  GPIO_InitStruct.Pull = GPIO_PULLUP;
  HAL_GPIO_Init(SD_STATE_GPIO_Port, &GPIO_InitStruct);

  /*Configure GPIO pin : USB_PowerSwitchOn_Pin */
  GPIO_InitStruct.Pin = USB_PowerSwitchOn_Pin;
  GPIO_InitStruct.Mode = GPIO_MODE_OUTPUT_PP;
  GPIO_InitStruct.Pull = GPIO_NOPULL;
  GPIO_InitStruct.Speed = GPIO_SPEED_FREQ_LOW;
  HAL_GPIO_Init(USB_PowerSwitchOn_GPIO_Port, &GPIO_InitStruct);

  /*Configure GPIO pin : USB_OverCurrent_Pin */
  GPIO_InitStruct.Pin = USB_OverCurrent_Pin;
  GPIO_InitStruct.Mode = GPIO_MODE_INPUT;
  GPIO_InitStruct.Pull = GPIO_NOPULL;
  HAL_GPIO_Init(USB_OverCurrent_GPIO_Port, &GPIO_InitStruct);

  /*Configure GPIO pins : RMII_TX_EN_Pin RMII_TXD0_Pin */
  GPIO_InitStruct.Pin = RMII_TX_EN_Pin|RMII_TXD0_Pin;
  GPIO_InitStruct.Mode = GPIO_MODE_AF_PP;
  GPIO_InitStruct.Pull = GPIO_NOPULL;
  GPIO_InitStruct.Speed = GPIO_SPEED_FREQ_VERY_HIGH;
  GPIO_InitStruct.Alternate = GPIO_AF11_ETH;
  HAL_GPIO_Init(GPIOG, &GPIO_InitStruct);

}

void _Error_Handler(char *file, int line)
{
  while(1)
  {
  }
}

/************************ (C) COPYRIGHT STMicroelectronics *****END OF FILE****/
